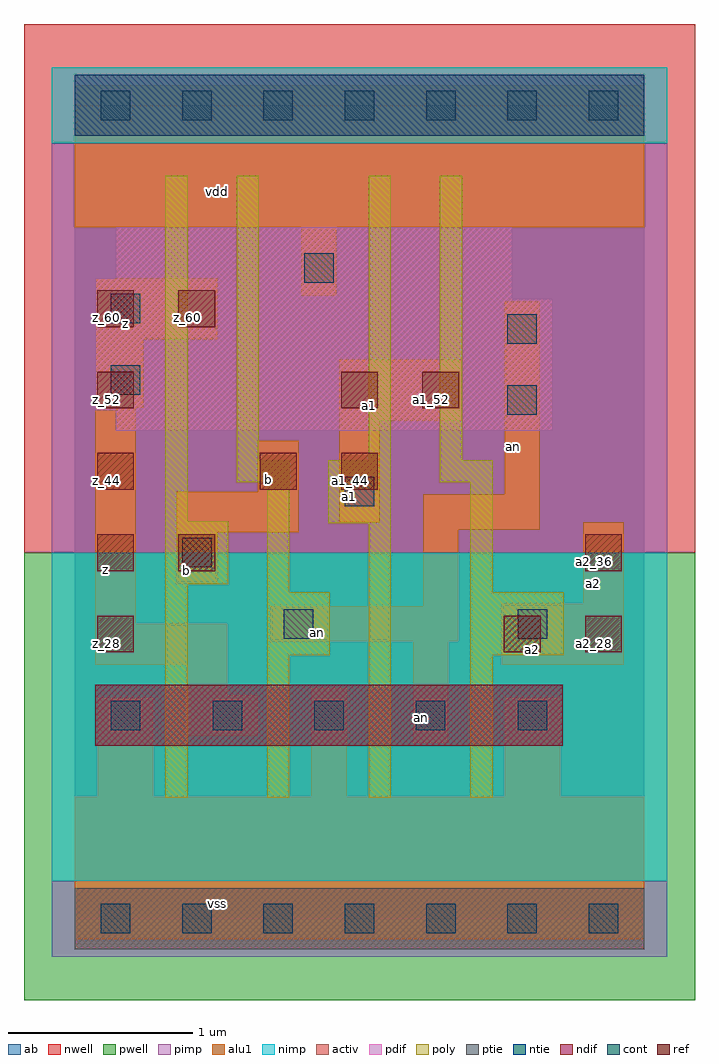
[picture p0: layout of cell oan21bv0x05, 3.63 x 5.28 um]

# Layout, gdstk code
import gdstk
lib = gdstk.Library(unit=1e-6, precision=2.5e-09)
def R(c, l, rs):  # rectangles x0, y0, x1, y1
    for r in rs: c.add(gdstk.rectangle(r[:2], r[2:], *l))
def A(c, l, x, y, w, h, nx, ny, dx, dy):  # array of equal rectangles
    R(c, l, [(x+i*dx, y+j*dy, x+i*dx+w, y+j*dy+h) for i in range(nx) for j in range(ny)])
ndif = (3, 0)
pdif = (4, 0)
ntie = (5, 0)
ptie = (6, 0)
ref = (24, 0)
cont = (25, 0)
pwell = (41, 0)
nwell = (42, 0)
activ = (43, 0)
pimp = (44, 0)
nimp = (45, 0)
poly = (46, 0)
alu1 = (49, 0)
ab = (63, 0)

oan21bv0x05 = lib.new_cell('oan21bv0x05')
R(oan21bv0x05, ndif, [(0.11,0.935,2.64,1.265)])
R(oan21bv0x05, pdif, [(0.22,2.64,2.585,2.75), (0.11,2.75,2.585,3.355), (0.11,3.355,2.365,3.465), (0.22,3.465,2.365,3.74)])
R(oan21bv0x05, ntie, [(0,4.235,3.08,4.565)])
R(oan21bv0x05, ptie, [(0,-0.165,3.08,0.165)])
A(oan21bv0x05, ref, 0.12, 1.44, 0.2, 0.2, 1, 5, 0, 0.44)
R(oan21bv0x05, ref, [(2.32,1.44,2.52,1.64), (2.76,1.44,2.96,1.64), (0.56,1.88,0.76,2.08), (2.76,1.88,2.96,2.08), (1,2.32,1.2,2.52), (1.44,2.32,1.64,2.52), (1.44,2.76,1.64,2.96), (1.88,2.76,2.08,2.96), (0.56,3.2,0.76,3.4)])
A(oan21bv0x05, cont, 0.14, -0.08, 0.16, 0.16, 7, 2, 0.44, 4.4)
A(oan21bv0x05, cont, 0.195, 1.02, 0.16, 0.16, 5, 1, 0.55, 0)
R(oan21bv0x05, cont, [(1.13,1.515,1.29,1.675), (2.395,1.515,2.555,1.675), (0.58,1.9,0.74,2.06), (1.46,2.23,1.62,2.39), (2.34,2.725,2.5,2.885), (0.195,2.835,0.355,2.995), (2.34,3.11,2.5,3.27), (0.195,3.22,0.355,3.38), (1.24,3.44,1.4,3.6)])
R(oan21bv0x05, pwell, [(-0.275,-0.44,3.355,1.98)])
R(oan21bv0x05, nwell, [(-0.275,1.98,3.355,4.84)])
R(oan21bv0x05, activ, [(0,-0.165,3.08,0.165), (0.11,0.935,2.64,1.265), (0.22,2.64,2.585,2.75), (0.11,2.75,2.585,3.355), (0.11,3.355,2.365,3.465), (0.22,3.465,2.365,3.74), (0,4.235,3.08,4.565)])
R(oan21bv0x05, pimp, [(-0.125,-0.205,3.205,0.205), (-0.125,1.98,3.205,4.195)])
R(oan21bv0x05, nimp, [(-0.125,0.205,3.205,1.98), (-0.125,4.195,3.205,4.605)])
R(oan21bv0x05, poly, [(0.49,0.655,0.61,1.81), (1.04,0.655,1.16,1.425), (1.59,0.655,1.71,2.14), (2.14,0.655,2.26,1.425), (1.04,1.425,1.38,1.765), (2.14,1.425,2.645,1.765), (1.04,1.765,1.16,2.36), (2.14,1.765,2.26,2.36), (0.49,1.81,0.83,2.15), (1.37,2.14,1.71,2.48), (0.49,2.15,0.61,4.02), (0.875,2.36,1.16,2.48), (1.975,2.36,2.26,2.48), (0.875,2.48,0.995,4.02), (1.59,2.48,1.71,4.02), (1.975,2.48,2.095,4.02)])
R(oan21bv0x05, alu1, [(0,-0.11,3.08,0.66), (0.125,0.66,0.425,1.195), (1.28,0.66,1.47,1.25), (2.325,0.66,2.625,1.195), (1.83,0.95,2.02,1.5), (0.605,0.99,0.99,1.21), (0.605,1.21,0.825,1.375), (0.11,1.375,0.825,1.595), (2.31,1.375,2.97,1.705), (1.06,1.5,2.075,1.69), (0.11,1.595,0.33,2.765), (1.885,1.69,2.075,2.105), (2.75,1.705,2.97,2.145), (0.55,1.815,0.77,2.09), (0.55,2.09,1.21,2.31), (1.885,2.105,2.515,2.295), (1.43,2.145,1.65,2.695), (2.325,2.295,2.515,3.34), (0.99,2.31,1.21,2.585), (1.43,2.695,2.09,3.025), (0.11,2.765,0.37,3.135), (0.11,3.135,0.77,3.465), (1.225,3.37,1.415,3.74), (0,3.74,3.08,4.51)])
R(oan21bv0x05, ab, [(0,0,3.08,4.4)])
oan21bv0x05.add(gdstk.Label('vss', (0.77,0.0825), layer=49, texttype=0))
oan21bv0x05.add(gdstk.Label('a2', (2.475,1.4575), layer=49, texttype=0))
oan21bv0x05.add(gdstk.Label('an', (1.8775,1.0875), layer=49, texttype=0))
oan21bv0x05.add(gdstk.Label('an', (1.3125,1.5475), layer=49, texttype=0))
oan21bv0x05.add(gdstk.Label('a2', (2.805,1.815), layer=49, texttype=0))
oan21bv0x05.add(gdstk.Label('b', (0.605,1.8825), layer=49, texttype=0))
oan21bv0x05.add(gdstk.Label('an', (2.3725,2.555), layer=49, texttype=0))
oan21bv0x05.add(gdstk.Label('a1', (1.485,2.2825), layer=49, texttype=0))
oan21bv0x05.add(gdstk.Label('b', (1.045,2.3775), layer=49, texttype=0))
oan21bv0x05.add(gdstk.Label('a1', (1.595,2.7775), layer=49, texttype=0))
oan21bv0x05.add(gdstk.Label('z', (0.165,1.8875), layer=49, texttype=0))
oan21bv0x05.add(gdstk.Label('z', (0.275,3.2175), layer=49, texttype=0))
oan21bv0x05.add(gdstk.Label('vdd', (0.77,3.9325), layer=49, texttype=0))
oan21bv0x05.add(gdstk.Label('a2_28', (2.37,1.49), layer=24, texttype=0))
oan21bv0x05.add(gdstk.Label('a2_28', (2.81,1.49), layer=24, texttype=0))
oan21bv0x05.add(gdstk.Label('z_60', (0.61,3.25), layer=24, texttype=0))
oan21bv0x05.add(gdstk.Label('z_60', (0.17,3.25), layer=24, texttype=0))
oan21bv0x05.add(gdstk.Label('z_52', (0.17,2.81), layer=24, texttype=0))
oan21bv0x05.add(gdstk.Label('b_44', (1.05,2.37), layer=24, texttype=0))
oan21bv0x05.add(gdstk.Label('a1_44', (1.49,2.37), layer=24, texttype=0))
oan21bv0x05.add(gdstk.Label('a1_52', (1.93,2.81), layer=24, texttype=0))
oan21bv0x05.add(gdstk.Label('a1_52', (1.49,2.81), layer=24, texttype=0))
oan21bv0x05.add(gdstk.Label('z_44', (0.17,2.37), layer=24, texttype=0))
oan21bv0x05.add(gdstk.Label('z_36', (0.17,1.93), layer=24, texttype=0))
oan21bv0x05.add(gdstk.Label('z_28', (0.17,1.49), layer=24, texttype=0))
oan21bv0x05.add(gdstk.Label('b_36', (0.61,1.93), layer=24, texttype=0))
oan21bv0x05.add(gdstk.Label('a2_36', (2.81,1.93), layer=24, texttype=0))

lib.write_gds('oan21bv0x05.gds')
